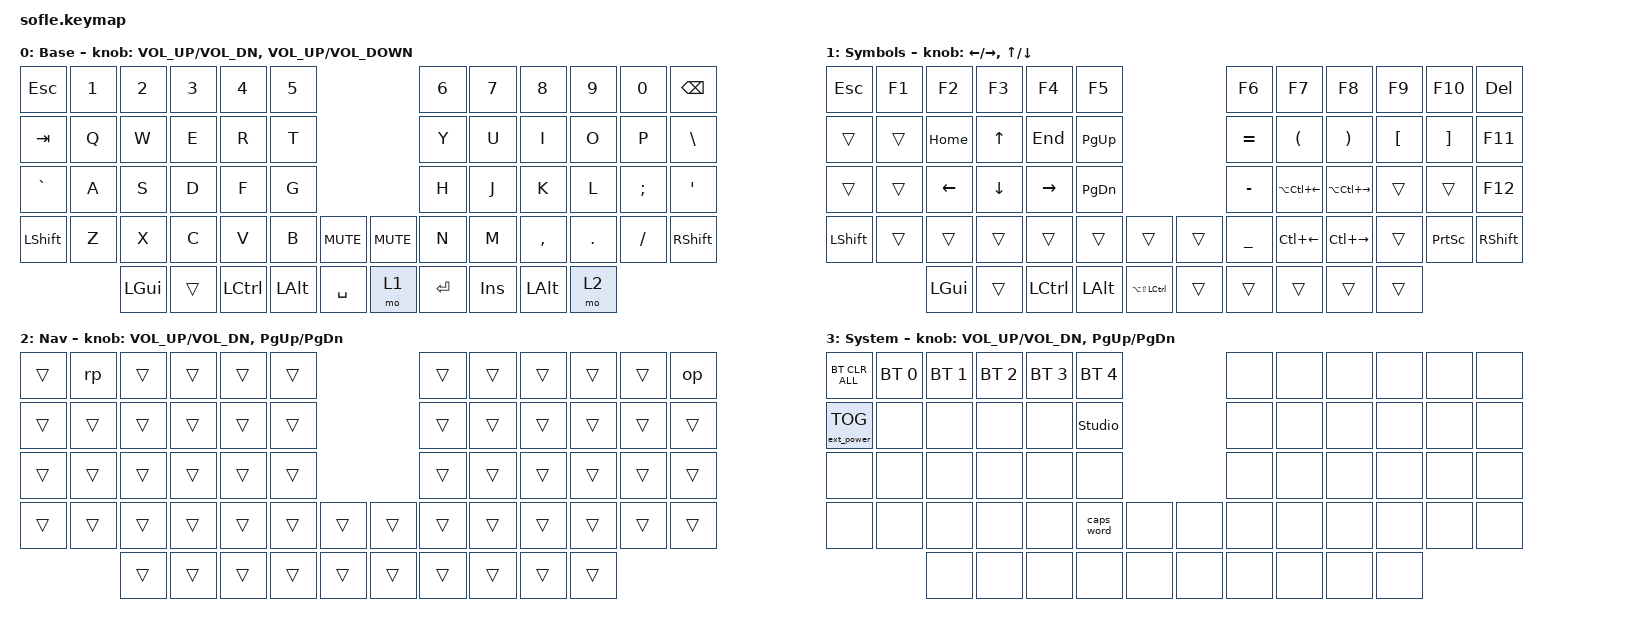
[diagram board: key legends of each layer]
/*
 * Copyright (c) 2020 The ZMK Contributors
 *
 * SPDX-License-Identifier: MIT
 */

#include <behaviors.dtsi>
#include <dt-bindings/zmk/bt.h>
#include <dt-bindings/zmk/ext_power.h>
#include <dt-bindings/zmk/keys.h>

// Encoders

&sensors { triggers-per-rotation = <30>; };

&left_encoder { steps = <60>; };

&right_encoder { steps = <60>; };

#define BASE 0
#define LOWER 1
#define RAISE 2
#define ADJUST 3

/ {
    // Activate ADJUST layer by pressing raise and lower

    conditional_layers {
        compatible = "zmk,conditional-layers";

        adjust_layer {
            if-layers = <LOWER RAISE>;
            then-layer = <ADJUST>;
        };
    };

    combos {
        compatible = "zmk,combos";

        backspace {
            bindings = <&kp BACKSPACE>;
            key-positions = <32 31>;
        };

        delete {
            bindings = <&kp DELETE>;
            key-positions = <27 33>;
        };

        esc {
            bindings = <&kp ESCAPE>;
            key-positions = <25 41>;
        };
    };

    behaviors {
        caps: caps {
            compatible = "zmk,behavior-caps-word";
            label = "CAPS";
            #binding-cells = <0>;
            continue-list = <POUND MINUS BACKSPACE UNDERSCORE>;
        };
    };

    macros {
        op: op {
            compatible = "zmk,behavior-macro";
            #binding-cells = <0>;
            bindings = <&none &kp LS(N) &kp T &kp UNDER &kp N5 &kp N9 &kp N7 &kp T &kp Y &kp N7 &kp N8 &kp UNDER &kp W &kp E &kp M &kp N4 &kp A &kp P &kp UNDER &kp L &kp D>;
            label = "OP";
        };

        rp: rp {
            compatible = "zmk,behavior-macro";
            #binding-cells = <0>;
            bindings = <&none &kp LS(H) &kp A &kp R &kp R &kp Y &kp LS(P) &kp O &kp T &kp T &kp E &kp R &kp UNDER &kp N1 &kp N5 &kp N9 &kp N7 &kp N5 &kp N3 &kp EXCL>;
            label = "RP";
        };
    };

    keymap {
        compatible = "zmk,keymap";

        default-layer {
            display-name = "Base";

            // ------------------------------------------------------------------------------------------------------------
            // |   `   |  1  |  2  |  3   |  4   |  5   |                   |  6   |  7    |  8    |  9   |   0   |       |
            // |  ESC  |  Q  |  W  |  E   |  R   |  T   |                   |  Y   |  U    |  I    |  O   |   P   | BKSPC |
            // |  TAB  |  A  |  S  |  D   |  F   |  G   |                   |  H   |  J    |  K    |  L   |   ;   |   '   |
            // | SHIFT |  Z  |  X  |  C   |  V   |  B   |  MUTE  |  |       |  N   |  M    |  ,    |  .   |   /   | SHIFT |
            //               | GUI | ALT  | CTRL | LOWER|  ENTER |  | SPACE | RAISE| CTRL  | ALT   | GUI  |

            bindings = <
&kp ESCAPE      &kp N1  &kp N2    &kp N3  &kp N4     &kp N5                                  &kp N6     &kp N7      &kp N8     &kp N9   &kp N0    &kp BACKSPACE
&kp TAB         &kp Q   &kp W     &kp E   &kp R      &kp T                                   &kp Y      &kp U       &kp I      &kp O    &kp P     &kp BACKSLASH
&kp GRAVE       &kp A   &kp S     &kp D   &kp F      &kp G                                   &kp H      &kp J       &kp K      &kp L    &kp SEMI  &kp SQT
&kp LEFT_SHIFT  &kp Z   &kp X     &kp C   &kp V      &kp B         &kp C_MUTE    &kp C_MUTE  &kp N      &kp M       &kp COMMA  &kp DOT  &kp FSLH  &kp RSHFT
                        &kp LGUI  &trans  &kp LCTRL  &kp LEFT_ALT  &kp SPACE     &mo 1       &kp ENTER  &kp INSERT  &kp LALT   &mo 2
            >;

            sensor-bindings =
                <&inc_dec_kp C_VOL_UP C_VOL_DN>,
                <&inc_dec_kp C_VOLUME_UP C_VOLUME_DOWN>;
        };

        extra-layer {
            display-name = "Symbols";

            // TODO: Some binds are waiting for shifted keycode support.
            // ------------------------------------------------------------------------------------------------------------
            // |       |  F1 |  F2 |  F3  |  F4  |  F5  |                   |  F6  |  F7   |  F8   |  F9  |  F10  |  F11  |
            // |   `   |  1  |  2  |  3   |  4   |  5   |                   |  6   |  7    |  8    |  9   |   0   |  F12  |
            // |       |  !  |  @  |  #   |  $   |  %   |                   |  ^   |  &    |  *    |  (   |   )   |   |   |
            // |       |  =  |  -  |  +   |  {   |  }   |        |  |       |  [   |  ]    |  ;    |  :   |   \   |       |
            //               |     |      |      |      |        |  |       |      |       |       |      |

            bindings = <
&kp ESCAPE  &kp F1  &kp F2          &kp F3          &kp F4           &kp F5                                      &kp F6          &kp F7                  &kp F8                   &kp F9            &kp F10            &kp DEL
&trans      &trans  &kp HOME        &kp UP_ARROW    &kp END          &kp PAGE_UP                                 &kp EQUAL       &kp LEFT_PARENTHESIS    &kp RIGHT_PARENTHESIS    &kp LEFT_BRACKET  &kp RIGHT_BRACKET  &kp F11
&trans      &trans  &kp LEFT_ARROW  &kp DOWN_ARROW  &kp RIGHT_ARROW  &kp PAGE_DOWN                               &kp MINUS       &kp LA(LC(LEFT_ARROW))  &kp LA(LC(RIGHT_ARROW))  &trans            &trans             &kp F12
&kp LSHIFT  &trans  &trans          &trans          &trans           &trans         &trans               &trans  &kp UNDERSCORE  &kp LC(LEFT_ARROW)      &kp LC(RIGHT)            &trans            &kp PRINTSCREEN    &kp RIGHT_SHIFT
                    &kp LEFT_GUI    &trans          &kp LCTRL        &kp LEFT_ALT   &kp LA(LS(LCTRL))    &trans  &trans          &trans                  &trans                   &trans
            >;

            sensor-bindings =
                <&inc_dec_kp LEFT_ARROW RIGHT_ARROW>,
                <&inc_dec_kp UP_ARROW DOWN_ARROW>;
        };

        macro-layer {
            display-name = "Nav";

            // ------------------------------------------------------------------------------------------------------------
            // | BTCLR | BT1  | BT2  |  BT3  |  BT4  |  BT5 |                |      |      |       |      |       |       |
            // |       | INS  | PSCR | GUI   |       |      |                | PGUP |      |   ^   |      |       |       |
            // |       | ALT  | CTRL | SHIFT |       | CAPS |                | PGDN |   <- |   v   |  ->  |  DEL  | BKSPC |
            // |       | UNDO | CUT  | COPY  | PASTE |      |      |  |      |      |      |       |      |       |       |
            //                |      |       |       |      |      |  |      |      |      |       |      |

            bindings = <
&trans  &rp     &trans  &trans  &trans  &trans                    &trans  &trans  &trans  &trans  &trans  &op
&trans  &trans  &trans  &trans  &trans  &trans                    &trans  &trans  &trans  &trans  &trans  &trans
&trans  &trans  &trans  &trans  &trans  &trans                    &trans  &trans  &trans  &trans  &trans  &trans
&trans  &trans  &trans  &trans  &trans  &trans  &trans    &trans  &trans  &trans  &trans  &trans  &trans  &trans
                &trans  &trans  &trans  &trans  &trans    &trans  &trans  &trans  &trans  &trans
            >;

            sensor-bindings = <&inc_dec_kp C_VOL_UP C_VOL_DN &inc_dec_kp PG_UP PG_DN>;
        };

        adjust_layer {
            // ----------------------------------------------------------------------------------------------------------------------------
            // | BTCLR  |  BT1    |  BT2    |   BT3   |   BT4   |   BT5   |                  |      |      |       |      |       |       |
            // | EXTPWR | RGB_HUD | RGB_HUI | RGB_SAD | RGB_SAI | RGB_EFF |                  |      |      |       |      |       |       |
            // |        | RGB_BRD | RGB_BRI |         |         |         |                  |      |      |       |      |       |       |
            // |        |         |         |         |         |         | RGB_TOG | |      |      |      |       |      |       |       |
            //                    |         |         |         |         |         | |      |      |      |       |      |

            display-name = "System";
            bindings = <
&bt BT_CLR_ALL     &bt BT_SEL 0  &bt BT_SEL 1  &bt BT_SEL 2  &bt BT_SEL 3  &bt BT_SEL 4                    &none  &none  &none  &none  &none  &none
&ext_power EP_TOG  &none         &none         &none         &none         &studio_unlock                  &none  &none  &none  &none  &none  &none
&none              &none         &none         &none         &none         &none                           &none  &none  &none  &none  &none  &none
&none              &none         &none         &none         &none         &caps_word      &none    &none  &none  &none  &none  &none  &none  &none
                                 &none         &none         &none         &none           &none    &none  &none  &none  &none  &none
            >;

            sensor-bindings = <&inc_dec_kp C_VOL_UP C_VOL_DN &inc_dec_kp PG_UP PG_DN>;
        };
    };
};
